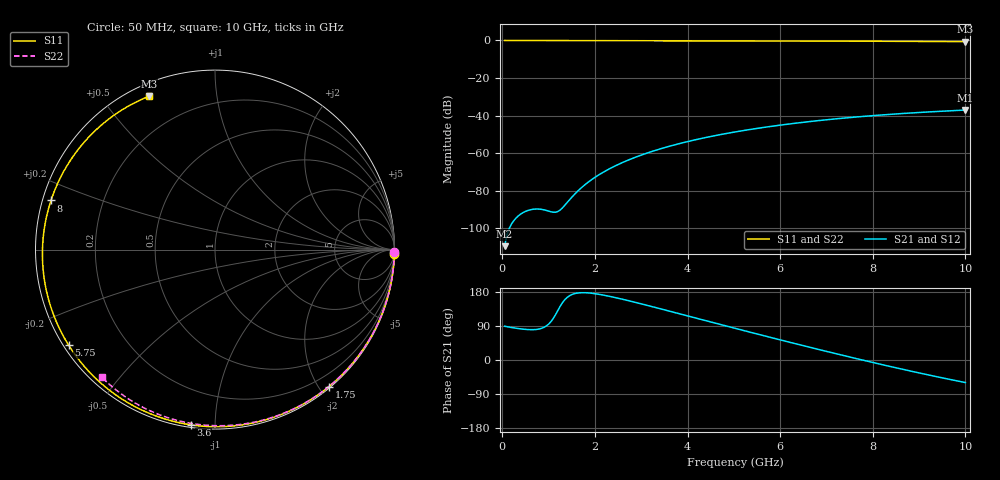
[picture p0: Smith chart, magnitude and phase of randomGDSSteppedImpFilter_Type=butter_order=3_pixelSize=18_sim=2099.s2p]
! freq	dB(S11)	phase(S11)	dB(S12)	phase(S12)
!  dB(S21)	phase(S21)	dB(S22)	phase(S22)
!S-par simulation data
#  GHz  S  DB  R 50
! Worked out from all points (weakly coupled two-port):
!   200 points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, 50 MHz to 10 GHz, reference 50 ohm
!   highest |S21| = -37.02 dB at 10 GHz (marker M1); lowest = -109.4 dB at 50 MHz (marker M2)
!   lowest |S11| = -0.6 dB at 10 GHz (marker M3), VSWR 27.64, Z = 2.59 + j32.8 ohm
!   |S11| at or under -10 dB: nowhere
!   |S22| runs from -0.4 to 0.0 dB; largest |S21 - S12| = 0
!   S11 on the Smith chart (normalised r, x): 50 MHz: 0, -77; 1.75 GHz: 0.02, -2.13; 3.6 GHz: 0.01, -0.87; 5.75 GHz: 0.01, -0.30; 8 GHz: 0.02, +0.15; 10 GHz: 0.05, +0.66
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0.05  -0.00 -1.5  -109.41 89.1  -109.41 89.1  -0.00 -0.8
0.4  -0.02 -11.8  -92.29 82.1  -92.29 82.1  -0.01 -6.1
0.8  -0.03 -23.4  -89.69 81.9  -89.69 81.9  -0.02 -12.1
1.2  -0.04 -34.8  -90.98 130.8  -90.98 130.8  -0.02 -18.1
1.6  -0.06 -46.1  -80.81 176.2  -80.81 176.2  -0.03 -24.1
1.65  -0.06 -47.5  -79.62 177.1  -79.62 177.1  -0.03 -24.8
1.75  -0.06 -50.2  -77.42 177.7  -77.42 177.7  -0.03 -26.3
2.05  -0.07 -58.4  -72.02 174.1  -72.02 174.1  -0.04 -30.7
2.45  -0.09 -69.0  -66.58 164.4  -66.58 164.4  -0.05 -36.5
2.9  -0.10 -80.6  -61.88 151.3  -61.88 151.3  -0.06 -43.0
3.4  -0.12 -93.1  -57.74 135.6  -57.74 135.6  -0.07 -50.1
3.6  -0.12 -98.0  -56.32 129.3  -56.32 129.3  -0.07 -52.8
4.3  -0.15 -114.5  -52.11 106.8  -52.11 106.8  -0.09 -62.4
5.05  -0.19 -131.5  -48.56 82.9  -48.56 82.9  -0.11 -72.4
5.75  -0.23 -146.9  -45.88 60.9  -45.88 60.9  -0.14 -81.4
6.25  -0.26 -157.8  -44.26 45.4  -44.26 45.4  -0.16 -87.7
6.7  -0.30 -167.6  -42.97 31.7  -42.97 31.7  -0.18 -93.3
7.35  -0.35 178.0  -41.35 12.4  -41.35 12.4  -0.22 -101.1
8  -0.41 163.3  -39.98 -6.5  -39.98 -6.5  -0.26 -108.8
8.35  -0.44 155.1  -39.34 -16.4  -39.34 -16.4  -0.29 -112.9
9.15  -0.53 135.6  -38.09 -38.1  -38.09 -38.1  -0.36 -122.1
10  -0.63 113.3  -37.02 -59.5  -37.02 -59.5  -0.45 -131.7
